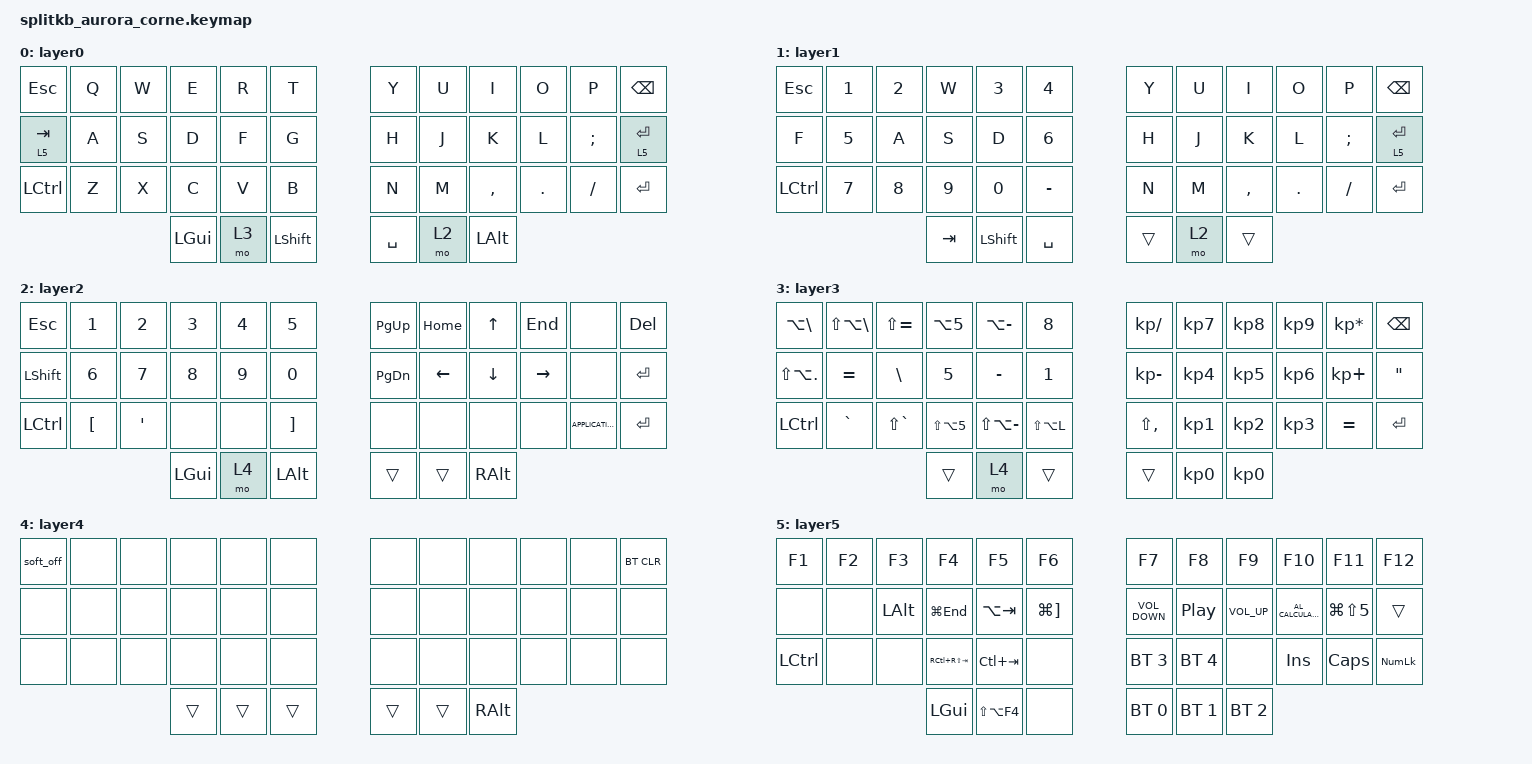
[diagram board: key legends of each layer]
  /*
  * Copyright (c) 2020 The ZMK Contributors
  *
  * SPDX-License-Identifier: MIT
  */

  #include <behaviors.dtsi>
  #include <dt-bindings/zmk/keys.h>
  #include <dt-bindings/zmk/bt.h>
  #include <dt-bindings/zmk/ext_power.h>

  / {
    kscan: kscan {
        compatible = "zmk,kscan-gpio-matrix";
        diode-direction = "col2row";
        wakeup-source;
    };

    keymap {
      compatible = "zmk,keymap";

      layer0 {
          bindings = <
          &kp ESCAPE       &kp Q   &kp W   &kp E   &kp R   &kp T        &kp Y   &kp U   &kp I     &kp O   &kp P           &kp BACKSPACE 
          &lt 5 TAB        &kp A   &kp S   &kp D   &kp F   &kp G        &kp H   &kp J   &kp K     &kp L   &kp SEMICOLON   &lt 5 ENTER 
          &kp LEFT_CONTROL &kp Z   &kp X   &kp C   &kp V   &kp B        &kp N   &kp M   &kp COMMA &kp DOT &kp SLASH       &kp ENTER 
                            &kp LEFT_GUI   &mo 3   &kp LEFT_SHIFT       &kp SPACE   &mo 2   &kp LEFT_ALT
          >;
      };

  layer1 {
          bindings = <
          &kp ESCAPE        &kp N1   &kp N2   &kp W    &kp N3   &kp N4        &kp Y   &kp U   &kp I       &kp O     &kp P         &kp BACKSPACE
          &kp F             &kp N5   &kp A    &kp S    &kp D    &kp N6        &kp H   &kp J   &kp K       &kp L     &kp SEMICOLON &lt 5 ENTER   
          &kp LEFT_CONTROL  &kp N7   &kp N8   &kp N9   &kp N0   &kp MINUS     &kp N   &kp M   &kp COMMA   &kp DOT   &kp SLASH     &kp ENTER 
                            &kp TAB  &kp LEFT_SHIFT  &kp SPACE                &trans  &mo 2   &trans
          >;
  };

  layer2 {
          bindings = <
          &kp ESCAPE         &kp N1             &kp N2             &kp N3   &kp N4   &kp N5                 &kp PAGE_UP     &kp HOME   &kp UP     &kp END   &none                &kp DELETE 
          &kp LEFT_SHIFT     &kp N6             &kp N7             &kp N8   &kp N9   &kp N0                 &kp PAGE_DOWN   &kp LEFT   &kp DOWN   &kp RIGHT &none                &kp ENTER 
          &kp LEFT_CONTROL   &kp LEFT_BRACKET   &kp SINGLE_QUOTE   &none    &none    &kp RIGHT_BRACKET      &none           &none      &none      &none     &kp K_APPLICATION    &kp ENTER   
                                                                       &kp LEFT_GUI &mo 4 &kp LEFT_ALT      &trans &trans &kp RIGHT_ALT
          >;
  };

  layer3 {
          bindings = <
          &kp LA(BSLH)       &kp LS(LA(BSLH))  &kp LS(EQUAL)   &kp LA(N5)       &kp LA(MINUS)       &kp N8            &kp KP_SLASH        &kp KP_N7   &kp KP_N8   &kp KP_N9   &kp KP_ASTERISK   &kp BACKSPACE 
          &kp LS(LA(DOT))    &kp EQUAL         &kp BSLH        &kp N5           &kp MINUS           &kp N1            &kp KP_MINUS        &kp KP_N4   &kp KP_N5   &kp KP_N6   &kp KP_PLUS       &kp DQT
          &kp LEFT_CONTROL   &kp GRAVE         &kp LS(GRAVE)   &kp LS(LA(N5))   &kp LS(LA(MINUS))   &kp LS(LA(L))     &kp LS(COMMA)       &kp KP_N1   &kp KP_N2   &kp KP_N3   &kp EQUAL         &kp ENTER 
                                                                                          &trans &mo 4 &trans      &trans &kp KP_N0 &kp KP_N0
          >;
  };

  layer4 {
          bindings = <
          &soft_off &none   &none   &none   &none   &none       &none   &none   &none   &none   &none   &bt BT_CLR 
          &none     &none   &none   &none   &none   &none       &none   &none   &none   &none   &none   &none 
          &none     &none   &none   &none   &none   &none       &none   &none   &none   &none   &none   &none 
                                      &trans &trans &trans    &trans  &trans  &kp RIGHT_ALT
          >;
  };

  layer5 {
          bindings = <
          &kp F1             &kp F2   &kp F3         &kp F4            &kp F5        &kp F6                     &kp F7              &kp F8             &kp F9            &kp F10               &kp F11                   &kp F12   
          &none              &none    &kp LEFT_ALT   &kp LG(END)       &kp LA(TAB)   &kp LG(RIGHT_BRACKET)      &kp C_VOLUME_DOWN   &kp C_PLAY_PAUSE   &kp C_VOLUME_UP   &kp C_AL_CALCULATOR   &kp LG(LS(NUMBER_5))      &trans 
          &kp LEFT_CONTROL   &none    &none          &kp RC(RS(TAB))   &kp LC(TAB)   &none                      &bt BT_SEL 3        &bt BT_SEL 4       &none             &kp INSERT            &kp CAPSLOCK              &kp KP_NUMLOCK 
                                                                        &kp LEFT_GUI &kp LS(LA(F4)) &none       &bt BT_SEL 0        &bt BT_SEL 1       &bt BT_SEL 2
          >;
        };
    };
  };
  
